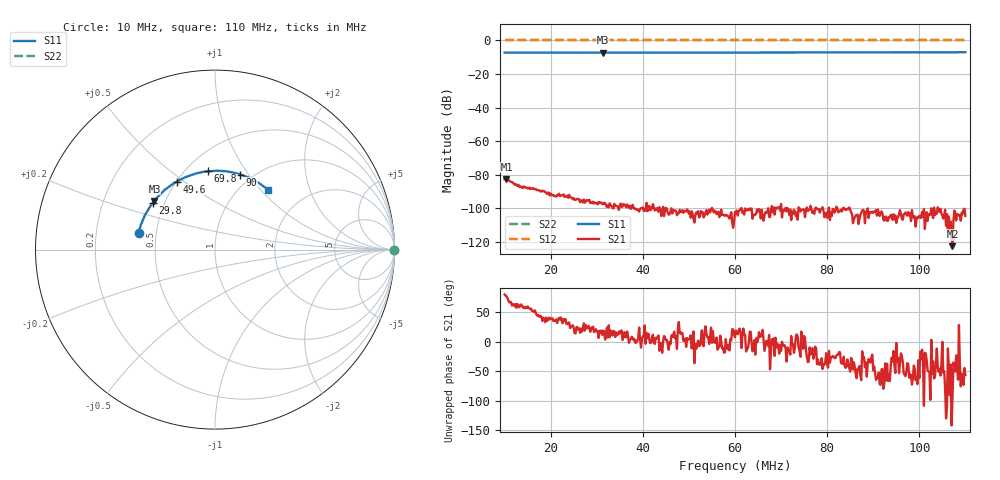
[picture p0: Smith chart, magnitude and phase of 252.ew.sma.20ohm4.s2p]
! Anritsu VNA Master:  Model: MS2036C/10/77
! SN:  1601066
! /card0/usr/20ohm4.s2p
! Existing Calibration Information:
! TYPE:  Current Settings,  Active Cal Settings
! TIME:  12/20/2017 04:18:04 PM,  12/20/2017 04:05:21 PM
! INTERNAL TEMP:  42.0 C,  43.3 C
! # POINTS:  501,  501
! START FREQ:  10.000 MHz,  10.000 MHz
! STOP FREQ:  110.000 MHz,  110.000 MHz
! SOURCE POWER:  High,  High
! IFBW:  100 Hz,  100 Hz
! AVG FACTOR:  1 ,  1
! REF PLANE 1:  0 mm,  0 mm
! REF PLANE 2:  0 mm,  0 mm
! CAL TYPE:  Full S11,  Full S11
! CAL METHOD:  SOLT,  SOLT
! CAL LINE TYPE:  Coax,  Coax
! DUT PORT 1:  K-Conn(F),  K-Conn(F)
! DUT PORT 2:  K-Conn(F),  K-Conn(F)
! CAL STATUS:  OK: Accuracy High,  --
# GHZ S DB R 50.0
! FREQ.GHZ  S11DB  S11A  S21DB  S21A  S12DB  S12A  S22DB  S22A
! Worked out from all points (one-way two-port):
!   501 points, 10 MHz to 110 MHz, reference 50 ohm
!   highest |S21| = -82.46 dB at 10.4 MHz (marker M1); lowest = -122.5 dB at 107.2 MHz (marker M2)
!   lowest |S11| = -7.3 dB at 31.4 MHz (marker M3), VSWR 2.53, Z = 21.8 + j14.6 ohm
!   |S11| at or under -10 dB: nowhere
!   |S22| runs from 0.0 to 0.0 dB; largest |S21 - S12| = 1
!   S11 on the Smith chart (normalised r, x): 10 MHz: 0.40, +0.09; 29.8 MHz: 0.43, +0.28; 49.6 MHz: 0.50, +0.47; 69.8 MHz: 0.64, +0.69; 90 MHz: 0.88, +0.92; 110 MHz: 1.32, +1.10
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0.01  -7.21 167.5  -82.64 79.7  0.00 0.0  0.00 0.0
0.0104  -7.21 167.0  -82.46 77.0  0.00 0.0  0.00 0.0
0.0142  -7.21 162.2  -86.91 59.0  0.00 0.0  0.00 0.0
0.0208  -7.23 154.0  -92.65 35.3  0.00 0.0  0.00 0.0
0.0268  -7.26 146.7  -95.41 17.4  0.00 0.0  0.00 0.0
0.0298  -7.26 143.2  -96.72 21.2  0.00 0.0  0.00 0.0
0.0314  -7.27 141.2  -97.33 18.4  0.00 0.0  0.00 0.0
0.0372  -7.24 134.2  -98.44 2.8  0.00 0.0  0.00 0.0
0.0434  -7.25 126.5  -102.01 10.5  0.00 0.0  0.00 0.0
0.0474  -7.22 121.6  -104.05 -12.1  0.00 0.0  0.00 0.0
0.0496  -7.25 119.2  -100.57 6.2  0.00 0.0  0.00 0.0
0.0546  -7.21 113.0  -102.45 7.3  0.00 0.0  0.00 0.0
0.06  -7.21 106.7  -102.13 7.3  0.00 0.0  0.00 0.0
0.0666  -7.17 98.9  -102.26 -6.8  0.00 0.0  0.00 0.0
0.0698  -7.17 95.2  -101.28 -5.3  0.00 0.0  0.00 0.0
0.0768  -7.13 86.9  -102.71 -11.0  0.00 0.0  0.00 0.0
0.082  -7.11 80.8  -98.96 -23.3  0.00 0.0  0.00 0.0
0.09  -7.11 71.5  -102.64 -48.4  0.00 0.0  0.00 0.0
0.0934  -7.10 67.4  -105.25 -56.0  0.00 0.0  0.00 0.0
0.1018  -7.04 57.6  -107.44 -49.3  0.00 0.0  0.00 0.0
0.1072  -7.05 51.4  -122.50 -95.9  0.00 0.0  0.00 0.0
0.11  -7.02 48.3  -104.48 -56.3  0.00 0.0  0.00 0.0
